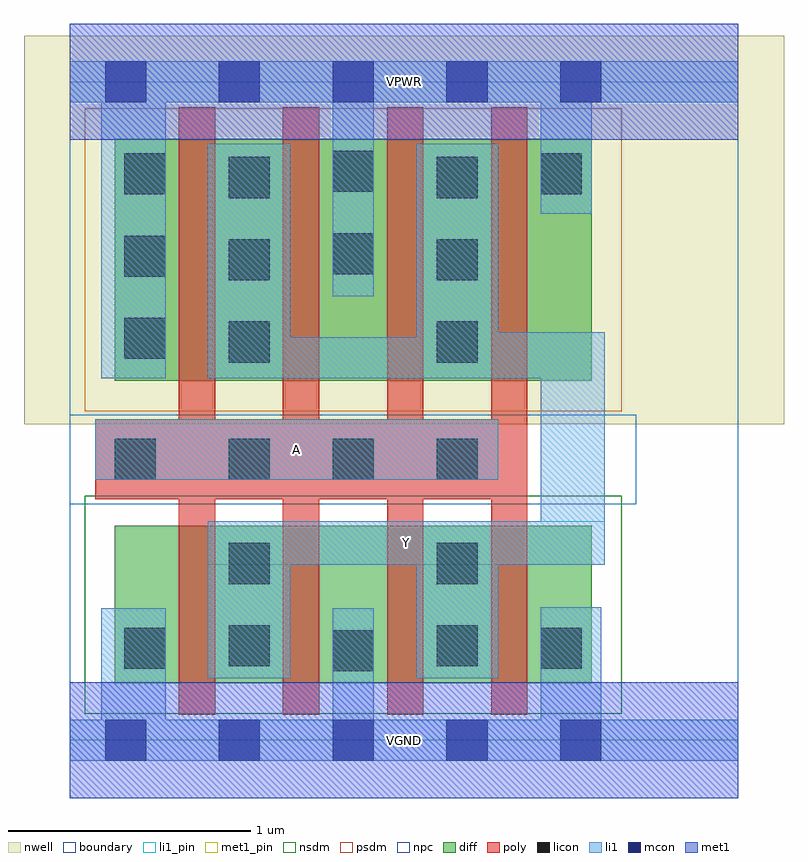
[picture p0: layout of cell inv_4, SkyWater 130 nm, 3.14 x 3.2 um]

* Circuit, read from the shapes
.subckt inv_4 A VGND VPWR Y
XM1 Y A VGND VSUBS sky130_fd_pr__nfet_01v8 w=0.65 l=0.15 m=4
XM2 Y A VPWR n1 sky130_fd_pr__pfet_01v8 w=1 l=0.15 m=4
.ends

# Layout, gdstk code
import gdstk
lib = gdstk.Library(unit=1e-6, precision=1e-09)
def R(c, l, rs):  # rectangles x0, y0, x1, y1
    for r in rs: c.add(gdstk.rectangle(r[:2], r[2:], *l))
def A(c, l, x, y, w, h, nx, ny, dx, dy):  # array of equal rectangles
    R(c, l, [(x+i*dx, y+j*dy, x+i*dx+w, y+j*dy+h) for i in range(nx) for j in range(ny)])
nwell = (64, 20)
diff = (65, 20)
poly = (66, 20)
licon = (66, 44)
li1_pin = (67, 16)
li1 = (67, 20)
mcon = (67, 44)
met1_pin = (68, 16)
met1 = (68, 20)
nsdm = (93, 44)
psdm = (94, 20)
npc = (95, 20)
boundary = (235, 4)

inv_4 = lib.new_cell('inv_4')
R(inv_4, nwell, [(-0.19,1.305,2.95,2.91), (0,1.305,2.76,2.91)])
R(inv_4, diff, [(0.185,0.235,2.155,0.885), (0.185,1.485,2.155,2.485)])
A(inv_4, poly, 0.45, 0.105, 0.15, 2.51, 4, 1, 0.43, 0)
R(inv_4, poly, [(0.105,0.995,1.89,1.325)])
A(inv_4, licon, 0.655, 1.075, 0.17, 0.17, 3, 1, 0.43, 0)
A(inv_4, licon, 0.655, 1.56, 0.17, 0.17, 1, 3, 0, 0.34)
A(inv_4, licon, 1.515, 1.56, 0.17, 0.17, 1, 3, 0, 0.34)
A(inv_4, licon, 0.225, 1.575, 0.17, 0.17, 1, 3, 0, 0.34)
R(inv_4, licon, [(1.085,0.285,1.255,0.455), (0.225,0.295,0.395,0.465), (1.945,0.295,2.115,0.465), (0.655,0.305,0.825,0.475), (1.515,0.305,1.685,0.475), (0.655,0.645,0.825,0.815), (1.515,0.645,1.685,0.815), (0.185,1.075,0.355,1.245), (1.085,1.925,1.255,2.095), (1.945,2.255,2.115,2.425), (1.085,2.265,1.255,2.435)])
R(inv_4, li1_pin, [(0.57,0.725,2.21,0.905), (0.105,1.075,1.77,1.325)])
R(inv_4, li1, [(0,-0.085,2.76,0.085), (0.13,-0.085,0.395,0.545), (1.085,-0.085,1.255,0.545), (1.945,-0.085,2.195,0.55), (0.57,0.255,0.91,0.905), (1.43,0.255,1.77,0.905), (0.57,0.725,2.21,0.905), (1.945,0.725,2.21,1.685), (0.105,1.075,1.77,1.325), (0.13,1.495,0.395,2.805), (0.57,1.495,0.91,2.465), (0.57,1.495,2.21,1.665), (1.43,1.495,1.77,2.465), (1.43,1.495,2.21,1.685), (1.085,1.835,1.255,2.805), (1.945,2.175,2.155,2.805), (0,2.635,2.76,2.805)])
A(inv_4, mcon, 0.145, -0.085, 0.17, 0.17, 5, 2, 0.47, 2.72)
R(inv_4, met1_pin, [(0,-0.24,2.76,0.24), (0,2.48,2.76,2.96)])
R(inv_4, met1, [(0,-0.24,2.76,0.24), (0,2.48,2.76,2.96)])
R(inv_4, nsdm, [(0.06,0.11,2.28,1.01)])
R(inv_4, psdm, [(0.06,1.36,2.28,2.61)])
R(inv_4, npc, [(0,0.975,2.34,1.345)])
R(inv_4, boundary, [(0,0,2.76,2.72)])
inv_4.add(gdstk.Label('A', (0.937,1.2), layer=67, texttype=5))
inv_4.add(gdstk.Label('Y', (1.39,0.815), layer=67, texttype=5))
inv_4.add(gdstk.Label('VPWR', (1.38,2.72), layer=68, texttype=5))
inv_4.add(gdstk.Label('VGND', (1.38,0), layer=68, texttype=5))
inv_4.add(gdstk.Label('A', (0.937,1.2), layer=67, texttype=16))
inv_4.add(gdstk.Label('Y', (1.39,0.815), layer=67, texttype=16))
inv_4.add(gdstk.Label('VPWR', (1.38,2.72), layer=68, texttype=16))
inv_4.add(gdstk.Label('VGND', (1.38,0), layer=68, texttype=16))

lib.write_gds('inv_4.gds')
